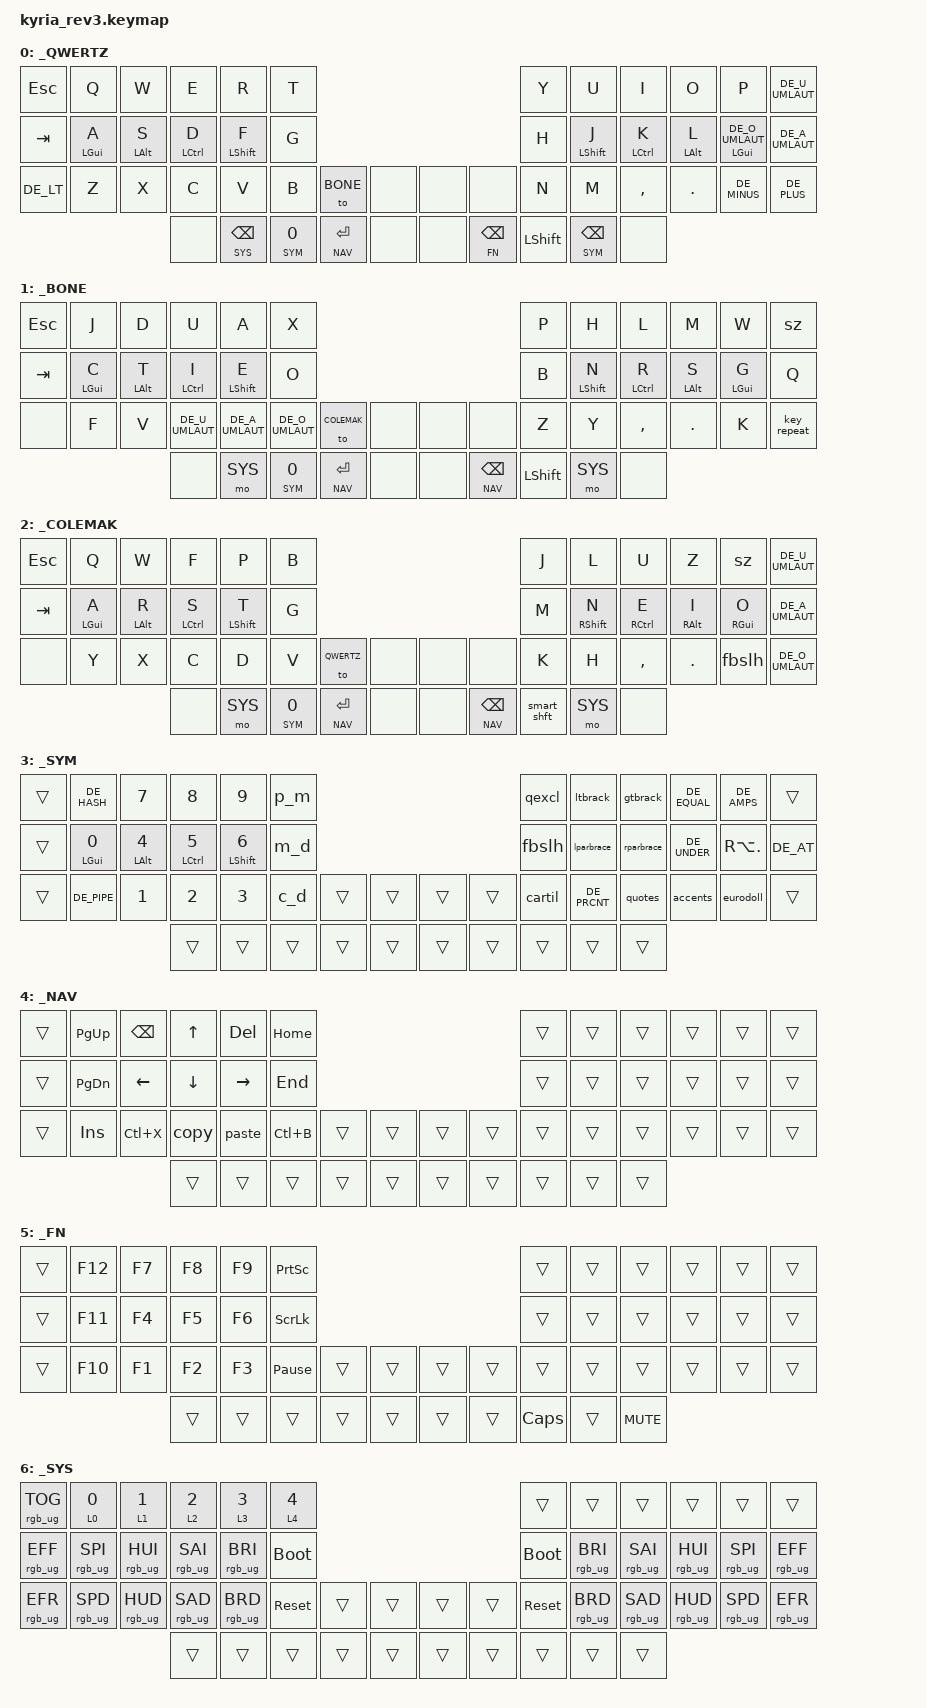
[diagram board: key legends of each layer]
/*
 * Copyright (c) 2023 The ZMK Contributors
 *
 * SPDX-License-Identifier: MIT
 */


#include <behaviors.dtsi>
#include "zmk-helpers/helper.h"
#include "zmk-helpers/key-labels/kyria.h"
#include <dt-bindings/zmk/keys.h>
#include "keys_de.h"
#include <dt-bindings/zmk/bt.h>
#include <behaviors/num_word.dtsi>
#include "mouse.dtsi"
#include <dt-bindings/zmk/rgb.h>
#include "combos.dtsi"
#if __has_include("extras.dtsi")
#include "extras.dtsi"
#endif

#define ________ &trans
#define __XXXX__ &none

#define DE_AUML DE_A_UMLAUT
#define DE_OUML DE_O_UMLAUT
#define DE_UUML DE_U_UMLAUT

#define QWERTZ 0
#define BONE 1
#define COLEMAK 2
#define SYM 3
#define NAV 4
#define FN  5
#define SYS 6


&led_strip {
    chain-length = <6>; //UG only
};
&left_encoder {
    steps = <60>;
};
&right_encoder {
    steps = <60>;
};

/ {
    behaviors {
        rgb_encoder_hue: rgb_encoder_hue {
            compatible = "zmk,behavior-sensor-rotate";
            label = "RGB_ENCODER_HUE";
            #sensor-binding-cells = <0>;
            bindings = <&rgb_ug RGB_HUI>, <&rgb_ug RGB_HUD>;
        };

        rgb_encoder_brt: rgb_encoder_brt {
            compatible = "zmk,behavior-sensor-rotate";
            label = "RGB_ENCODER_BRT";
            #sensor-binding-cells = <0>;
            bindings = <&rgb_ug RGB_BRI>, <&rgb_ug RGB_BRD>;
        };
    };

    sensors {
        compatible = "zmk,keymap-sensors";
        sensors = <&left_encoder &right_encoder>;
        triggers-per-rotation = <20>;
    };
};


/* Global settings */

#define QUICK_TAP_MS 175

&sk {  // sticky-key config
    release-after-ms = <900>;  // release after 0.6s
    quick-release;             // no double capitalization when rolling keys
};

&sl {  // sticky-layer config
    ignore-modifiers;          // allow chording sticky mods & layers
};

&lt {  // layer-tap config
    flavor = "balanced";
    tapping-term-ms = <200>;
    quick-tap-ms = <QUICK_TAP_MS>;
};

&key_repeat {
    usage-pages = <HID_USAGE_KEY HID_USAGE_CONSUMER>;
};


/* Homerow mods */

#define KEYS_L LT0 LT1 LT2 LT3 LT4 LT5 LM0 LM1 LM2 LM3 LM4 LM5 LB0 LB1 LB2 LB3 LB4 LB5 // left hand
#define KEYS_R RT0 RT1 RT2 RT3 RT4 RT5 RM0 RM1 RM2 RM3 RM4 RM5 RB0 RB1 RB2 RB3 RB4 RB5 // right hand
#define THUMBS LH4 LH3 LH2 LH1 LH0 LF0 LF1 RF0 RF1 RH0 RH1 RH2 RH3 RH4                 // thumbs

#define MAKE_HRM(NAME, HOLD, TAP, TRIGGER_POS) \
    ZMK_BEHAVIOR(NAME, hold_tap, \
        flavor = "balanced"; \
        tapping-term-ms = <280>; \
        quick-tap-ms = <QUICK_TAP_MS>; \
        require-prior-idle-ms = <150>; \
        bindings = <HOLD>, <TAP>; \
        hold-trigger-key-positions = <TRIGGER_POS>; \
        hold-trigger-on-release; \
    )
MAKE_HRM(hml, &kp, &kp, KEYS_R THUMBS)  // left-hand HRMs
MAKE_HRM(hmr, &kp, &kp, KEYS_L THUMBS)  // right-hand HRMs



/* Caps-word, num-word and smart-mouse */

// tap: sticky-shift | shift + tap/ double-tap: caps-word | hold: shift
ZMK_BEHAVIOR(smart_shft, mod_morph,
    bindings = <&sk LSHFT>, <&caps_word>;
    mods = <(MOD_LSFT)>;
)
&caps_word {  // mods deactivate caps-word, requires PR #1451
    /delete-property/ ignore-modifiers;
};


// tap: space | shift + tap: dot -> space -> sticky shift | hold: activate layer
ZMK_BEHAVIOR(lt_spc, hold_tap,
    flavor = "balanced";
    tapping-term-ms = <200>;
    quick-tap-ms = <QUICK_TAP_MS>;
    bindings = <&mo>, <&spc_morph>;
)
ZMK_BEHAVIOR(spc_morph, mod_morph,
    bindings = <&kp SPACE>, <&dot_spc>;
    mods = <(MOD_LSFT|MOD_RSFT)>;
)
ZMK_BEHAVIOR(dot_spc, macro,
    wait-ms = <0>;
    tap-ms = <5>;
    bindings = <&kp DOT &kp SPACE &sk LSHFT>;
)

// tap: num-word | double-tap: sticky num-layer | hold: num-layer
#define SMART_NUM &smart_num SYM 0
ZMK_BEHAVIOR(smart_num, hold_tap,
    flavor = "balanced";
    tapping-term-ms = <200>;
    quick-tap-ms = <QUICK_TAP_MS>;
    bindings = <&mo>, <&num_dance>;
)
ZMK_BEHAVIOR(num_dance, tap_dance,
    tapping-term-ms = <200>;
    bindings = <&num_word SYM>, <&sl SYM>;  // reverse this for sticky-num on single tap
)
&num_word {
    continue-list = <BSPC DEL DOT COMMA DE_PLUS DE_MINUS DE_STAR DE_FSLH LS(N0)>;
    ignore-modifiers;     
};

ZMK_BEHAVIOR(smart_shft, mod_morph,
    bindings = <&sk LSHFT>, <&caps_word>;
    mods = <(MOD_LSFT)>;
)


/* BLUETOOTH MACROS */
ZMK_BEHAVIOR(m_bt_sel, macro_one_param,
    wait-ms = <0>;
    tap-ms = <0>;
    bindings
      = <&macro_param_1to2>
      , <&bt BT_SEL MACRO_PLACEHOLDER>
      ;
)

ZMK_BEHAVIOR(m_bt_clr_prof, macro_one_param,
    wait-ms = <0>;
    tap-ms = <0>;
    bindings
      = <&macro_param_1to1>
      , <&m_bt_sel MACRO_PLACEHOLDER>
      , <&bt BT_CLR>
    ;
)

ZMK_BEHAVIOR(ht_btp, hold_tap,
    flavor = "tap-preferred";
    tapping-term-ms = <3000>;
    bindings = <&m_bt_clr_prof>,<&m_bt_sel>;
)

/* SYMBOLS */

// + or * (with SHFT)
ZMK_BEHAVIOR(p_m, mod_morph,
    bindings = <&kp DE_PLUS>, <&kp DE_STAR>;
    mods = <(MOD_LSFT|MOD_RSFT)>;
)

// - or / (with SHFT)
ZMK_BEHAVIOR(m_d, mod_morph,
    bindings = <&kp DE_MINUS>, <&kp DE_FSLH>;
    mods = <(MOD_LSFT|MOD_RSFT)>;
)
// , or . (with SHFT)
ZMK_BEHAVIOR(c_d, mod_morph,
    bindings = <&kp COMMA>, <&kp DOT>;
    mods = <(MOD_LSFT|MOD_RSFT)>;
)
// ( and { (with SHFT)
ZMK_BEHAVIOR(lparbrace, mod_morph,
    bindings = <&kp DE_LEFT_PARENTHESIS>, <&kp DE_LEFT_BRACE>;
    mods = <(MOD_LSFT|MOD_RSFT)>;
)
// ) and } (with SHFT)
ZMK_BEHAVIOR(rparbrace, mod_morph,
    bindings = <&kp DE_RIGHT_PARENTHESIS>, <&kp DE_RIGHT_BRACE>;
    mods = <(MOD_LSFT|MOD_RSFT)>;
)
// < and [ (with SHFT)
ZMK_BEHAVIOR(ltbrack, mod_morph,
    bindings = <&kp DE_LESS_THAN>, <&kp DE_LEFT_BRACKET>;
    mods = <(MOD_LSFT|MOD_RSFT)>;
)
// > and ] (with SHFT)
ZMK_BEHAVIOR(gtbrack, mod_morph,
    bindings = <&kp DE_GREATER_THAN>, <&kp DE_RIGHT_BRACKET>;
    mods = <(MOD_LSFT|MOD_RSFT)>;
)
// ' and " (with SHFT)
ZMK_BEHAVIOR(quotes, mod_morph,
    bindings = <&kp DE_SQT>, <&kp DE_DQT>;
    mods = <(MOD_LSFT|MOD_RSFT)>;
)
// ´ and ` (with SHFT)
ZMK_BEHAVIOR(accents, mod_morph,
    bindings = <&kp DE_ACUTE>, <&kp DE_GRAVE>;
    mods = <(MOD_LSFT|MOD_RSFT)>;
)
// ? and ! (with SHFT)
ZMK_BEHAVIOR(qexcl, mod_morph,
    bindings = <&kp DE_QMARK>, <&kp DE_EXCL>;
    mods = <(MOD_LSFT|MOD_RSFT)>;
)
// $ and € (with SHFT)
ZMK_BEHAVIOR(eurodoll, mod_morph,
    bindings = <&kp DE_DOLLAR>, <&kp DE_EURO>;
    mods = <(MOD_LSFT|MOD_RSFT)>;
)
// / and \ (with SHFT) 
ZMK_BEHAVIOR(fbslh, mod_morph,
    bindings = <&kp DE_FSLH>, <&kp DE_BSLH>;
    mods = <(MOD_LSFT|MOD_RSFT)>;
)
// ß and  (with SHFT)  
ZMK_BEHAVIOR(sz, mod_morph,
    bindings = <&kp DE_SZ>, <&kp DE_CAPITAL_SZ>;
    mods = <(MOD_LSFT|MOD_RSFT)>;
)
// ^ and ~ (with SHFT)  
ZMK_BEHAVIOR(cartil, mod_morph,
    bindings = <&kp DE_CARET>, <&kp DE_TILDE>;
    mods = <(MOD_LSFT|MOD_RSFT)>;
)

// Copy
// Ctrl+C or Ctrl+Ins  (with SHFT)  
ZMK_BEHAVIOR(copy, mod_morph,
    bindings = <&kp LC(C)>, <&kp LC(INS)>;
    mods = <(MOD_LSFT|MOD_RSFT)>;
)
// Paste
// Ctrl+V or Shft+Ins  (with SHFT)  
ZMK_BEHAVIOR(paste, mod_morph,
    bindings = <&kp LC(V)>, <&kp LS(INS)>;
    mods = <(MOD_LSFT|MOD_RSFT)>;
)


/* Switcher encoder */
/* Encoder switches windows */

/ {
    behaviors {
        switcher: switcher {
            compatible = "zmk,behavior-sensor-rotate";
            label = "ENCODER_SW";
            #sensor-binding-cells = <0>;
            bindings = <&alttab>, <&alttab_p>;
        };
};
};
ZMK_BEHAVIOR(alttab, tri_state,
    bindings = <&kp LALT>, <&kp TAB>, <&kt LALT>;
)
ZMK_BEHAVIOR(alttab_p, tri_state,
    bindings = <&kp LALT>, <&kp LS(TAB)>, <&kt LALT>;
)


ZMK_CONDITIONAL_LAYER(syslay, NAV SYM, FN)

ZMK_LAYER(_QWERTZ,
    // ╭─────────────┬─────────────┬─────────────┬─────────────┬─────────────┬─────────────╮                                                           ╭─────────────┬─────────────┬─────────────┬─────────────┬─────────────┬───── ü ─────╮
         &kp ESC       &kp Q         &kp W         &kp E         &kp R         &kp T                                                                     &kp Y         &kp U         &kp I         &kp O         &kp P         &kp DE_UUML    
    // ├─────────────┼─────────────┼─────────────┼─────────────┼─────────────┼─────────────┤                                                           ├─────────────┼─────────────┼─────────────┼─────────────┼───── ö ─────┼───── ä ─────┤
         &kp TAB       &hml LGUI A   &hml LALT S   &hml LCTRL D  &hml LSHFT F  &kp G                                                                     &kp H         &hmr LSHFT J  &hmr LCTRL K  &hmr LALT L   &hmr LGUI DE_OUML &kp DE_AUML
    // ├─────────────┼─────────────┼─────────────┼─────────────┼─────────────┼─────────────┼─────────────┬─────────────╮   ╭─────────────┬─────────────┼─────────────┼─────────────┼─────────────┼─────────────┼─────────────┼─────────────┤
         &kp DE_LT     &kp Z         &kp X         &kp C         &kp V         &kp B         &to BONE       __XXXX__          __XXXX__      __XXXX__     &kp N         &kp M         &kp COMMA     &kp DOT       &kp DE_MINUS  &kp DE_PLUS
    // ╰─────────────┼─────────────┼─────────────┼─────────────┼─────────────┼─────────────┼─────────────┬─────────────┤   ├─────────────┼─────────────┼─────────────┼─────────────┼─────────────┼─────────────┼─────────────┼─────────────┤
                                                    __XXXX__     &lt SYS BSPC  &lt_spc SYM 0 &lt NAV RET    __XXXX__          __XXXX__     &lt FN BSPC   &kp LSHFT     &lt SYM BSPC   __XXXX__ 
    //                                           ╰─────────────┴─────────────┴─────────────┴─────────────┴─────────────╯   ╰─────────────┴─────────────┴─────────────┴─────────────┴─────────────╯
    ,                                          &inc_dec_kp RIGHT LEFT                                                                                                            &inc_dec_kp DOWN UP                        
    //                                               (       )                                                                                                                        (       )
)

ZMK_LAYER(_BONE,
    // ╭─────────────┬─────────────┬─────────────┬─────────────┬─────────────┬─────────────╮                                                           ╭─────────────┬─────────────┬─────────────┬─────────────┬─────────────┬───── ß ─────╮
         &kp ESC       &kp J         &kp D         &kp U         &kp A         &kp X                                                                     &kp P         &kp H         &kp L         &kp M         &kp W         &sz    
    // ├─────────────┼─────────────┼─────────────┼─────────────┼─────────────┼─────────────┤                                                           ├─────────────┼─────────────┼─────────────┼─────────────┼─────────────┼─────────────┤
         &kp TAB       &hml LGUI C   &hml LALT T   &hml LCTRL I  &hml LSHFT E  &kp O                                                                     &kp B         &hmr LSHFT N  &hmr LCTRL R  &hmr LALT S   &hmr LGUI G   &kp Q
    // ├─────────────┼─────────────┼─────────────┼───── ü ─────┼───── ä ─────┼───── ö ─────┼─────────────┬─────────────╮   ╭─────────────┬─────────────┼─────────────┼─────────────┼─────────────┼─────────────┼─────────────┼─────────────┤
          __XXXX__     &kp F         &kp V         &kp DE_UUML   &kp DE_AUML   &kp DE_OUML   &to COLEMAK    __XXXX__          __XXXX__      __XXXX__     &kp Z         &kp Y         &kp COMMA     &kp DOT       &kp K         &key_repeat
    // ╰─────────────┼─────────────┼─────────────┼─────────────┼─────────────┼─────────────┼─────────────┬─────────────┤   ├─────────────┼─────────────┼─────────────┼─────────────┼─────────────┼─────────────┼─────────────┼─────────────┤
                                                    __XXXX__     &mo SYS       &lt_spc SYM 0 &lt NAV RET    __XXXX__          __XXXX__     &lt NAV BSPC  &kp LSHFT     &mo SYS        __XXXX__ 
    //                                           ╰─────────────┴─────────────┴─────────────┴─────────────┴─────────────╯   ╰─────────────┴─────────────┴─────────────┴─────────────┴─────────────╯
    ,                                          &inc_dec_kp RIGHT LEFT                                                                                                            &inc_dec_kp DOWN UP                        
    //                                               (       )                                                                                                                        (       )
)

ZMK_LAYER(_COLEMAK,
    // ╭─────────────┬─────────────┬─────────────┬─────────────┬─────────────┬─────────────╮                                                           ╭─────────────┬─────────────┬─────────────┬─────────────┬─────────────┬─────────────╮
         &kp ESC       &kp Q         &kp W         &kp F         &kp P         &kp B                                                                     &kp J         &kp L         &kp U         &kp Z         &sz           &kp DE_UUML
    // ├─────────────┼─────────────┼─────────────┼─────────────┼─────────────┼─────────────┤                                                           ├─────────────┼─────────────┼─────────────┼─────────────┼─────────────┼─────────────┤
         &kp TAB       &hml LGUI A   &hml LALT R   &hml LCTRL S  &hml LSHFT T  &kp G                                                                     &kp M         &hmr RSHFT N  &hmr RCTRL E  &hmr RALT I   &hmr RGUI O   &kp DE_AUML
    // ├─────────────┼─────────────┼─────────────┼─────────────┼─────────────┼─────────────┼─────────────┬─────────────╮   ╭─────────────┬─────────────┼─────────────┼─────────────┼─────────────┼─────────────┼─────────────┼─────────────┤
          __XXXX__     &kp Y         &kp X         &kp C         &kp D         &kp V         &to QWERTZ     __XXXX__          __XXXX__      __XXXX__     &kp K         &kp H         &kp COMMA     &kp DOT       &fbslh        &kp DE_OUML
    // ╰─────────────┼─────────────┼─────────────┼─────────────┼─────────────┼─────────────┼─────────────┬─────────────┤   ├─────────────┼─────────────┼─────────────┼─────────────┼─────────────┼─────────────┼─────────────┼─────────────┤
                                                    __XXXX__     &mo SYS       &lt_spc SYM 0 &lt NAV RET    __XXXX__          __XXXX__     &lt NAV BSPC  &smart_shft   &mo SYS        __XXXX__ 
    //                                           ╰─────────────┴─────────────┴─────────────┴─────────────┴─────────────╯   ╰─────────────┴─────────────┴─────────────┴─────────────┴─────────────╯
    ,                                          &inc_dec_kp RIGHT LEFT                                                                                                            &inc_dec_kp DOWN UP                        
    //                                               (       )                                                                                                                        (       )
)

ZMK_LAYER(_SYM,
    // ╭─────────────┬────── # ────┬─────────────┬─────────────┬─────────────┬──── + * ────╮                                                           ╭──── ? ! ────┬──── < [ ────┬──── > ] ────┬───── = ─────┬───── & ─────┬─────────────╮
          ________     &kp DE_HASH   &kp N7        &kp N8        &kp N9        &p_m                                                                      &qexcl        &ltbrack      &gtbrack      &kp DE_EQUAL  &kp DE_AMPS    ________     
    // ├─────────────┼─────────────┼─────────────┼─────────────┼─────────────┼──── - / ────┤                                                           ├──── / \ ────┼──── ( { ────┼──── ) } ────┼───── _ ─────┼───── … ─────┼───── @ ─────┤
          ________     &hml LGUI N0  &hml LALT N4  &hml LCTRL N5 &hml LSHFT N6 &m_d                                                                      &fbslh        &lparbrace    &rparbrace    &kp DE_UNDER  &kp RA(DOT)   &kp DE_AT
    // ├─────────────┼────── | ────┼─────────────┼─────────────┼─────────────┼──── , . ────┼─────────────┬─────────────╮   ╭─────────────┬─────────────┼──── ^ ~ ────┼───── % ─────┼──── ' " ────┼──── ´ ` ────┼──── € $ ────┼─────────────┤
          ________     &kp DE_PIPE   &kp N1        &kp N2        &kp N3        &c_d           ________      ________          ________      ________     &cartil       &kp DE_PRCNT  &quotes       &accents      &eurodoll      ________     
    // ╰─────────────┼─────────────┼─────────────┼─────────────┼─────────────┼─────────────┼─────────────┬─────────────┤   ├─────────────┼─────────────┼─────────────┼─────────────┼─────────────┼─────────────┼─────────────┼─────────────┤
                                                    ________      ________      ________      ________      ________          ________      ________      ________      ________      ________
    //                                           ╰─────────────┴─────────────┴─────────────┴─────────────┴─────────────╯   ╰─────────────┴─────────────┴─────────────┴─────────────┴─────────────╯
    ,                                          &inc_dec_kp RIGHT LEFT                                                                                                       &inc_dec_kp PAGE_DOWN PAGE_UP                        
    //                                               (       )                                                                                                                        (       )
)

ZMK_LAYER(_NAV,
    // ╭─────────────┬─────────────┬─────────────┬─────────────┬─────────────┬─────────────╮                                                           ╭─────────────┬─────────────┬─────────────┬─────────────┬─────────────┬─────────────╮
           ________    &kp PG_UP     &kp BSPC      &kp UP        &kp DEL       &kp HOME                                                                   ________      ________      ________      ________      ________      ________   
    // ├─────────────┼─────────────┼─────────────┼─────────────┼─────────────┼─────────────┤                                                           ├─────────────┼─────────────┼─────────────┼─────────────┼─────────────┼─────────────┤
           ________    &kp PG_DN     &kp LEFT      &kp DOWN      &kp RIGHT     &kp END                                                                    ________      ________      ________      ________      ________      ________   
    // ├─────────────┼─────────────┼─────────────┼─────────────┼─────────────┼─────────────┼─────────────┬─────────────╮   ╭─────────────┬─────────────┼─────────────┼─────────────┼─────────────┼─────────────┼─────────────┼─────────────┤
           ________    &kp INS       &kp LC(X)     &copy         &paste        &kp LC(B)      ________      ________          ________      ________      ________      ________      ________      ________      ________      ________
    // ╰─────────────┼─────────────┼─────────────┼─────────────┼─────────────┼─────────────┼─────────────┬─────────────┤   ├─────────────┼─────────────┼─────────────┼─────────────┼─────────────┼─────────────┼─────────────┼─────────────┤
                                                    ________      ________      ________      ________      ________          ________      ________      ________      ________      ________  
    //                                           ╰─────────────┴─────────────┴─────────────┴─────────────┴─────────────╯   ╰─────────────┴─────────────┴─────────────┴─────────────┴─────────────╯
    ,                                                 &inc_dec_kp LA(TAB) LS(LA(TAB))                                                                                                   &inc_dec_kp LC(Z) LC(Y)  //UNDO REDO                        
    //                                               (       )                                                                                                                        (       )
)

ZMK_LAYER(_FN,
    // ╭─────────────┬─────────────┬─────────────┬─────────────┬─────────────┬─────────────╮                                                           ╭─────────────┬─────────────┬─────────────┬─────────────┬─────────────┬─────────────╮
          ________     &kp F12       &kp F7        &kp F8        &kp F9        &kp PSCRN                                                                  ________      ________      ________      ________      ________      ________   
    // ├─────────────┼─────────────┼─────────────┼─────────────┼─────────────┼─────────────┤                                                           ├─────────────┼─────────────┼─────────────┼─────────────┼─────────────┼─────────────┤
          ________     &kp F11       &kp F4        &kp F5        &kp F6        &kp SLCK                                                                   ________      ________      ________      ________      ________      ________   
    // ├─────────────┼─────────────┼─────────────┼─────────────┼─────────────┼─────────────┼─────────────┬─────────────╮   ╭─────────────┬─────────────┼─────────────┼─────────────┼─────────────┼─────────────┼─────────────┼─────────────┤
          ________     &kp F10       &kp F1        &kp F2        &kp F3        &kp PAUSE_BREAK ________     ________          ________      ________      ________      ________      ________      ________      ________      ________   
    // ╰─────────────┼─────────────┼─────────────┼─────────────┼─────────────┼─────────────┼─────────────┬─────────────┤   ├─────────────┼─────────────┼─────────────┼─────────────┼─────────────┼─────────────┼─────────────┼─────────────┤
                                                    ________      ________      ________      ________      ________          ________      ________     &kp CAPS       ________     &kp K_MUTE  
    //                                           ╰─────────────┴─────────────┴─────────────┴─────────────┴─────────────╯   ╰─────────────┴─────────────┴─────────────┴─────────────┴─────────────╯
    ,                                        &inc_dec_kp C_BRI_INC C_BRI_DEC                                                                                                       &inc_dec_kp K_VOL_UP K_VOL_DN                       
    //                                               (       )                                                                                                                        (       )
)

ZMK_LAYER(_SYS,
    // ╭─────────────  ┬─────────────  ┬─────────────  ┬─────────────  ┬─────────────  ┬─────────────╮                                                           ╭─────────────┬─────────────  ┬─────────────  ┬─────────────  ┬─────────────  ┬─────────────╮
        &rgb_ug RGB_TOG  &ht_btp 0 0     &ht_btp 1 1     &ht_btp 2 2     &ht_btp 3 3   &ht_btp 4 4                                                                  ________      ________        ________        ________        ________        ________  
    // ├─────────────  ┼─────────────  ┼─────────────  ┼─────────────  ┼─────────────  ┼─────────────┤                                                           ├─────────────┼─────────────  ┼─────────────  ┼─────────────  ┼─────────────  ┼─────────────┤
        &rgb_ug RGB_EFF &rgb_ug RGB_SPI &rgb_ug RGB_HUI &rgb_ug RGB_SAI &rgb_ug RGB_BRI &bootloader                                                               &bootloader  &rgb_ug RGB_BRI &rgb_ug RGB_SAI &rgb_ug RGB_HUI &rgb_ug RGB_SPI &rgb_ug RGB_EFF 
    // ├─────────────  ┼─────────────  ┼─────────────  ┼─────────────  ┼─────────────  ┼─────────────┼─────────────┬─────────────╮   ╭─────────────┬─────────────┼─────────────┼─────────────  ┼─────────────  ┼─────────────  ┼─────────────  ┼─────────────┤
        &rgb_ug RGB_EFR &rgb_ug RGB_SPD &rgb_ug RGB_HUD &rgb_ug RGB_SAD &rgb_ug RGB_BRD &sys_reset      ________      ________          ________       ________   &sys_reset   &rgb_ug RGB_BRD &rgb_ug RGB_SAD &rgb_ug RGB_HUD &rgb_ug RGB_SPD &rgb_ug RGB_EFR
    // ╰─────────────  ┼─────────────  ┼─────────────  ┼─────────────  ┼─────────────  ┼─────────────┼─────────────┬─────────────┤   ├─────────────┼─────────────┼─────────────┼─────────────  ┼─────────────  ┼─────────────  ┼─────────────  ┼─────────────┤
                                                          ________        ________        ________      ________      ________          ________       ________     ________      ________        ________  
    //                                                 ╰─────────────  ┴─────────────  ┴─────────────┴─────────────┴─────────────╯   ╰─────────────┴─────────────┴─────────────┴  ─────────────┴  ─────────────╯
    ,                                            &rgb_encoder_brt                                                                                                                 &rgb_encoder_hue                  
    //                                               (       )                                                                                                                        (       )
)
